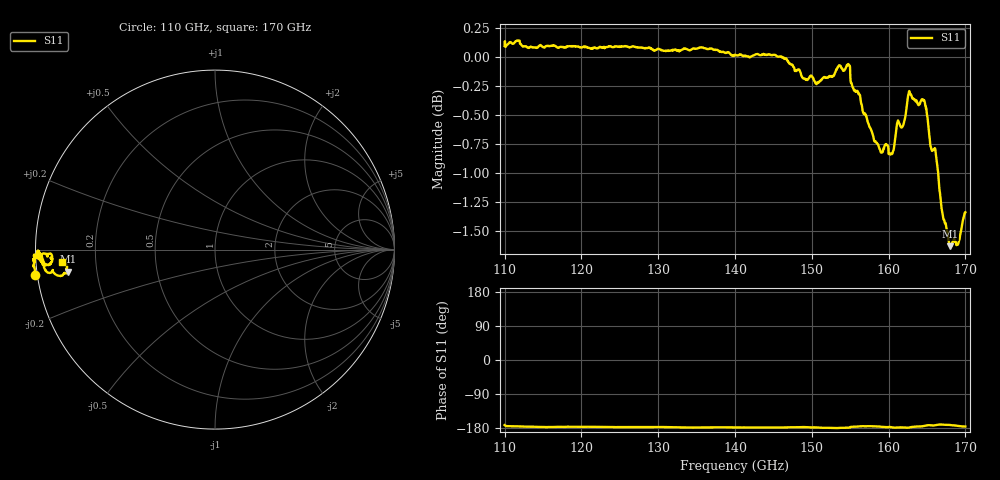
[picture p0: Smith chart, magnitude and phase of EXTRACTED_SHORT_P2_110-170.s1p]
! Generated by Phase I extraction
# Hz S RI R 50
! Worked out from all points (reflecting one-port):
!   1471 points, 110 GHz to 170 GHz, reference 50 ohm
!   lowest |S11| = -1.6 dB at 168 GHz (marker M1), VSWR 10.67, Z = 4.71 - j3.69 ohm
!   phase of S11 starts at -172 deg and turns -4 deg over the sweep
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1.1e11  -1.001 -0.1426
1.10449e11  -1.008 -0.0945
1.126122e11  -1.008 -0.0732
1.153469e11  -1.009 -0.0529
1.175102e11  -1.008 -0.0616
1.250204e11  -1.008 -0.0538
1.292245e11  -1.005 -0.0619
1.325306e11  -1.005 -0.0438
1.344082e11  -1.007 -0.0297
1.4e11  -1.001 -0.0373
1.447755e11  -1.001 -0.03
1.475102e11  -0.9909 -0.0448
1.48898e11  -0.9775 -0.0525
1.531837e11  -0.9876 -0.00618
1.546122e11  -0.9915 -0.0206
1.550204e11  -0.9778 -0.0557
1.564898e11  -0.95 -0.0878
1.589796e11  -0.9073 -0.0635
1.60449e11  -0.9073 -0.0377
1.608571e11  -0.9214 -0.0229
1.625306e11  -0.9615 -0.0229
1.644898e11  -0.9539 -0.0911
1.651429e11  -0.9267 -0.1289
1.658367e11  -0.905 -0.1136
1.666531e11  -0.8629 -0.147
1.68e11  -0.8195 -0.1227
1.690612e11  -0.8258 -0.0893
1.7e11  -0.8544 -0.0674
